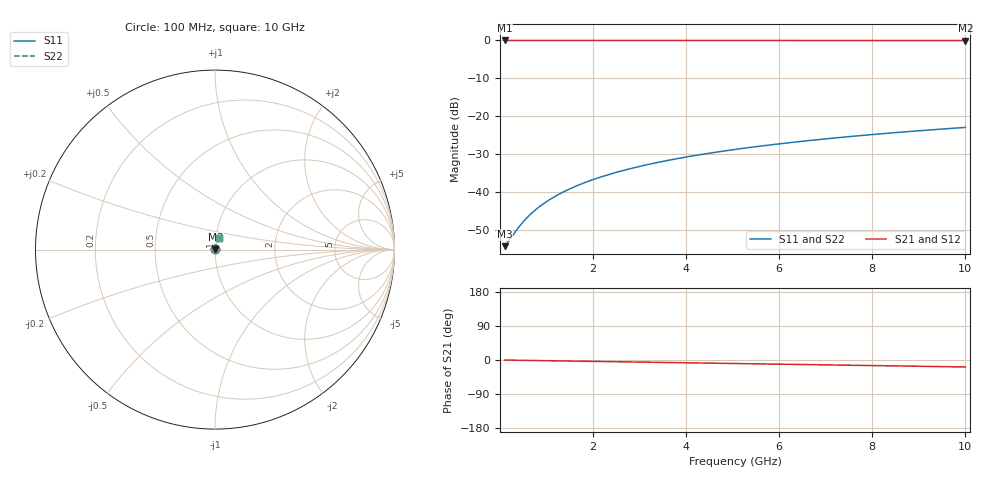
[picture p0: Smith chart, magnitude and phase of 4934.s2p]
# Hz S RI R 50.00
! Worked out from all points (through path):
!   100 points, 100 MHz to 10 GHz, reference 50 ohm
!   highest |S21| = -0.02 dB at 100 MHz (marker M1); lowest = 0.0 dB at 10 GHz (marker M2)
!   group delay of S21, straight-line fit = 5.1 ps
!   lowest |S11| = -54.3 dB at 100 MHz (marker M3), VSWR 1.00, Z = 50.2 + j0.0722 ohm
!   |S11| at or under -10 dB: start of sweep to end of sweep
!   |S22| runs from -54.3 to -23.0 dB; largest |S21 - S12| = 0
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1e8  0.0018 0.000719  0.9982 -0.0032  0.9982 -0.0032  0.0018 0.000719
2e8  0.00181 0.00144  0.9982 -0.00639  0.9982 -0.00639  0.00181 0.00144
4e8  0.00186 0.00288  0.9981 -0.0128  0.9981 -0.0128  0.00186 0.00288
5e8  0.00188 0.00359  0.998 -0.016  0.998 -0.016  0.00188 0.00359
6e8  0.00191 0.00431  0.998 -0.0192  0.998 -0.0192  0.00191 0.00431
7e8  0.00195 0.00503  0.9979 -0.0224  0.9979 -0.0224  0.00195 0.00503
8e8  0.00198 0.00575  0.9978 -0.0256  0.9978 -0.0256  0.00198 0.00575
1e9  0.00207 0.00718  0.9976 -0.0319  0.9976 -0.0319  0.00207 0.00718
1.2e9  0.00218 0.00862  0.9974 -0.0383  0.9974 -0.0383  0.00218 0.00862
1.5e9  0.00237 0.0108  0.9969 -0.0479  0.9969 -0.0479  0.00237 0.0108
1.8e9  0.00261 0.0129  0.9964 -0.0575  0.9964 -0.0575  0.00261 0.0129
2.1e9  0.00288 0.015  0.9957 -0.0671  0.9957 -0.0671  0.00288 0.015
2.5e9  0.00331 0.0179  0.9947 -0.0798  0.9947 -0.0798  0.00331 0.0179
2.9e9  0.00381 0.0207  0.9935 -0.0925  0.9935 -0.0925  0.00381 0.0207
3.4e9  0.00454 0.0242  0.9918 -0.1084  0.9918 -0.1084  0.00454 0.0242
4.2e9  0.00593 0.0298  0.9885 -0.1338  0.9885 -0.1338  0.00593 0.0298
5.1e9  0.00784 0.036  0.984 -0.1622  0.984 -0.1622  0.00784 0.036
5.9e9  0.00984 0.0414  0.9793 -0.1874  0.9793 -0.1874  0.00984 0.0414
6.7e9  0.0121 0.0466  0.9739 -0.2124  0.9739 -0.2124  0.0121 0.0466
7.5e9  0.0146 0.0518  0.9678 -0.2373  0.9678 -0.2373  0.0146 0.0518
8.4e9  0.0178 0.0574  0.9602 -0.265  0.9602 -0.265  0.0178 0.0574
1e10  0.0242 0.0669  0.9446 -0.3138  0.9446 -0.3138  0.0242 0.0669
